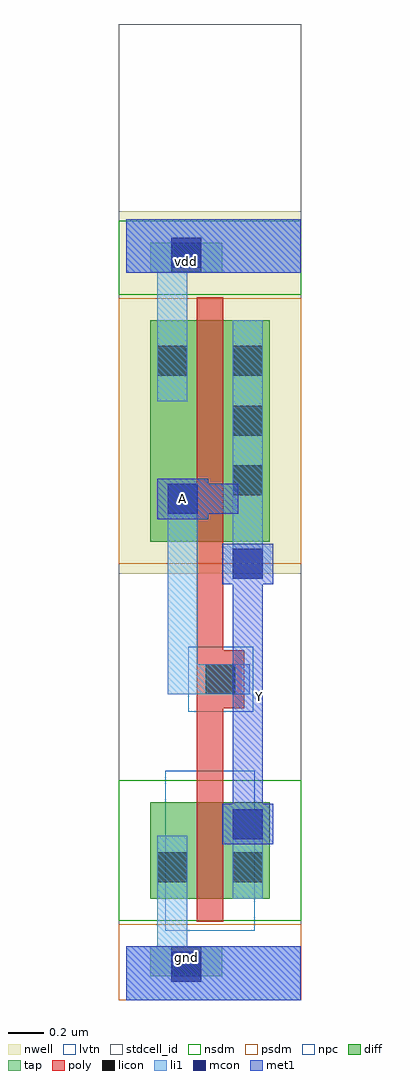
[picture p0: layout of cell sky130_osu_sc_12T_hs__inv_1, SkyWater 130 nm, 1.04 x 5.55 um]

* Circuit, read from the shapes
.subckt sky130_osu_sc_12T_hs__inv_1 A Y gnd vdd
XM1 Y A gnd gnd sky130_fd_pr__nfet_01v8_lvt w=0.55 l=0.15
XM2 Y A vdd vdd sky130_fd_pr__pfet_01v8 w=1.26 l=0.15
.ends

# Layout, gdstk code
import gdstk
lib = gdstk.Library(unit=1e-6, precision=1e-09)
def R(c, l, rs):  # rectangles x0, y0, x1, y1
    for r in rs: c.add(gdstk.rectangle(r[:2], r[2:], *l))
def A(c, l, x, y, w, h, nx, ny, dx, dy):  # array of equal rectangles
    R(c, l, [(x+i*dx, y+j*dy, x+i*dx+w, y+j*dy+h) for i in range(nx) for j in range(ny)])
nwell = (64, 20)
diff = (65, 20)
tap = (65, 44)
poly = (66, 20)
licon = (66, 44)
li1 = (67, 20)
mcon = (67, 44)
met1 = (68, 20)
stdcell_id = (81, 4)
nsdm = (93, 44)
psdm = (94, 20)
npc = (95, 20)
lvtn = (125, 44)

sky130_osu_sc_12t_hs__in = lib.new_cell('sky130_osu_sc_12T_hs__inv_1')
R(sky130_osu_sc_12t_hs__in, nwell, [(-0.045,2.425,0.995,4.485)])
R(sky130_osu_sc_12t_hs__in, diff, [(0.135,0.575,0.815,1.125), (0.135,2.605,0.815,3.865)])
R(sky130_osu_sc_12t_hs__in, tap, [(0.135,0.135,0.545,0.305), (0.135,4.135,0.545,4.305)])
R(sky130_osu_sc_12t_hs__in, poly, [(0.4,0.445,0.55,1.66), (0.4,1.66,0.67,1.99), (0.4,1.99,0.55,3.995)])
A(sky130_osu_sc_12t_hs__in, licon, 0.605, 2.87, 0.17, 0.17, 1, 3, 0, 0.34)
R(sky130_osu_sc_12t_hs__in, licon, [(0.255,0.135,0.425,0.305), (0.175,0.67,0.345,0.84), (0.605,0.67,0.775,0.84), (0.45,1.74,0.62,1.91), (0.175,3.55,0.345,3.72), (0.255,4.135,0.425,4.305)])
R(sky130_osu_sc_12t_hs__in, li1, [(0,0,0.99,0.305), (0.175,0.305,0.345,0.935), (0.605,0.575,0.775,1.085), (0.235,1.74,0.7,1.91), (0.235,1.91,0.405,2.935), (0.605,2.395,0.775,3.865), (0.175,3.405,0.345,4.135), (0,4.135,0.99,4.44)])
R(sky130_osu_sc_12t_hs__in, mcon, [(0.255,0.105,0.425,0.275), (0.605,0.915,0.775,1.085), (0.605,2.395,0.775,2.565), (0.235,2.765,0.405,2.935), (0.255,4.165,0.425,4.335)])
R(sky130_osu_sc_12t_hs__in, met1, [(0,0,0.99,0.305), (0.545,0.885,0.835,1.115), (0.605,1.115,0.775,2.365), (0.545,2.365,0.835,2.595), (0.175,2.735,0.465,2.765), (0.175,2.765,0.635,2.935), (0.175,2.935,0.465,2.965), (0,4.135,0.99,4.44)])
R(sky130_osu_sc_12t_hs__in, stdcell_id, [(-0.045,0,0.995,5.55)])
R(sky130_osu_sc_12t_hs__in, nsdm, [(-0.045,0.45,0.995,1.25), (-0.045,4.01,0.995,4.43)])
R(sky130_osu_sc_12t_hs__in, psdm, [(-0.045,0,0.995,0.43), (-0.045,2.48,0.995,3.99)])
R(sky130_osu_sc_12t_hs__in, npc, [(0.35,1.64,0.72,2.01)])
R(sky130_osu_sc_12t_hs__in, lvtn, [(0.22,0.395,0.73,1.305)])
sky130_osu_sc_12t_hs__in.add(gdstk.Label('gnd', (0.34,0.24), layer=68, texttype=16))
sky130_osu_sc_12t_hs__in.add(gdstk.Label('vdd', (0.34,4.2), layer=68, texttype=16))
sky130_osu_sc_12t_hs__in.add(gdstk.Label('Y', (0.755,1.725), layer=68, texttype=5))
sky130_osu_sc_12t_hs__in.add(gdstk.Label('A', (0.32,2.85), layer=68, texttype=5))

lib.write_gds('sky130_osu_sc_12T_hs__inv_1.gds')
